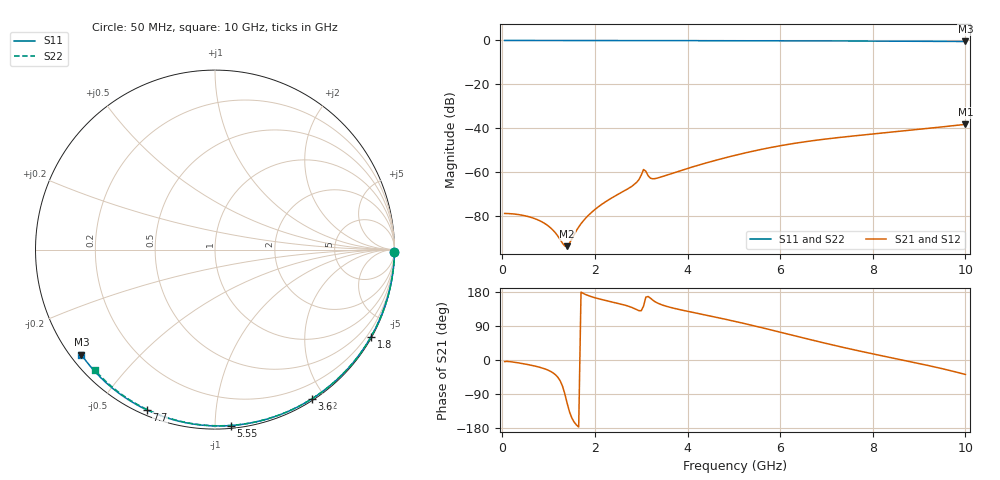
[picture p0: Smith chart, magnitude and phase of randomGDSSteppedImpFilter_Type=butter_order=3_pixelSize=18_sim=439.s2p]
! freq	dB(S11)	phase(S11)	dB(S12)	phase(S12)
!  dB(S21)	phase(S21)	dB(S22)	phase(S22)
!S-par simulation data
#  GHz  S  DB  R 50
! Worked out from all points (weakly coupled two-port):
!   200 points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, 50 MHz to 10 GHz, reference 50 ohm
!   highest |S21| = -38.26 dB at 10 GHz (marker M1); lowest = -93.8 dB at 1.4 GHz (marker M2)
!   lowest |S11| = -0.5 dB at 10 GHz (marker M3), VSWR 36.62, Z = 1.53 - j17.3 ohm
!   |S11| at or under -10 dB: nowhere
!   |S22| runs from -0.5 to 0.0 dB; largest |S21 - S12| = 0
!   S11 on the Smith chart (normalised r, x): 50 MHz: open; 1.8 GHz: 0.03, -3.84; 3.6 GHz: 0.02, -1.84; 5.55 GHz: 0.02, -1.09; 7.7 GHz: 0.02, -0.66; 10 GHz: 0.03, -0.35
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0.05  -0.00 -0.8  -78.89 -4.2  -78.89 -4.2  -0.00 -0.8
0.5  -0.01 -8.2  -79.99 -10.8  -79.99 -10.8  -0.00 -7.7
1.4  -0.03 -22.8  -93.81 -113.9  -93.81 -113.9  -0.03 -21.4
1.75  -0.04 -28.4  -82.24 175.6  -82.24 175.6  -0.03 -26.6
1.8  -0.04 -29.2  -81.04 172.7  -81.04 172.7  -0.03 -27.3
1.85  -0.04 -30.0  -79.93 170.3  -79.93 170.3  -0.04 -28.1
2.05  -0.04 -33.1  -76.24 162.6  -76.24 162.6  -0.04 -31.0
2.25  -0.05 -36.3  -73.28 156.6  -73.28 156.6  -0.04 -34.0
2.8  -0.06 -44.8  -66.48 138.6  -66.48 138.6  -0.05 -42.0
2.95  -0.06 -47.1  -63.48 130.3  -63.48 130.3  -0.06 -44.2
3.05  -0.06 -48.6  -58.86 142.3  -58.86 142.3  -0.06 -45.6
3.1  -0.06 -49.4  -59.62 165.9  -59.62 165.9  -0.06 -46.4
3.15  -0.07 -50.2  -61.70 167.6  -61.70 167.6  -0.06 -47.1
3.2  -0.07 -50.9  -62.81 163.1  -62.81 163.1  -0.06 -47.8
3.4  -0.07 -53.9  -62.44 147.8  -62.44 147.8  -0.07 -50.6
3.6  -0.08 -56.9  -61.07 139.8  -61.07 139.8  -0.07 -53.5
5.05  -0.12 -77.9  -52.25 101.2  -52.25 101.2  -0.11 -73.3
5.55  -0.14 -84.8  -49.86 86.9  -49.86 86.9  -0.13 -79.8
6.7  -0.19 -100.2  -45.71 52.3  -45.71 52.3  -0.18 -94.5
7.7  -0.26 -113.1  -43.30 24.0  -43.30 24.0  -0.24 -106.8
8.35  -0.31 -121.3  -41.94 7.2  -41.94 7.2  -0.29 -114.6
10  -0.47 -141.8  -38.26 -38.2  -38.26 -38.2  -0.47 -135.0
